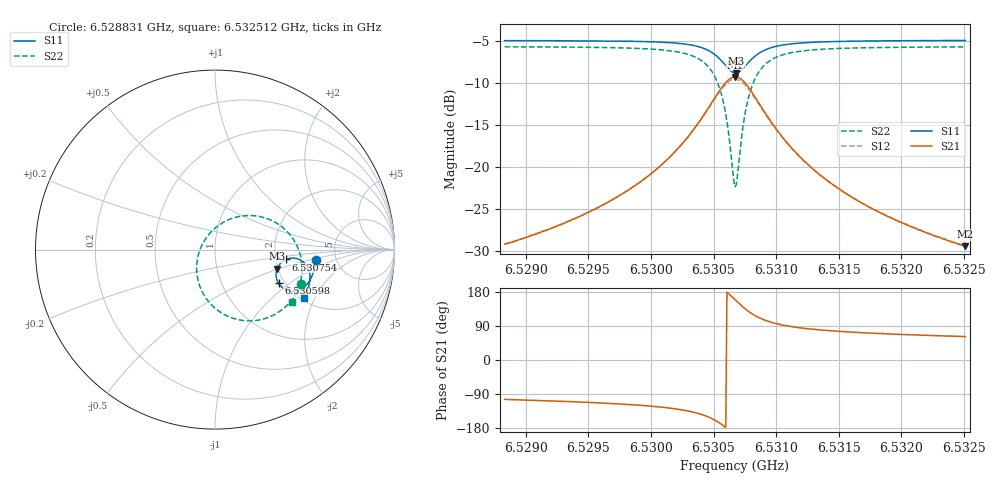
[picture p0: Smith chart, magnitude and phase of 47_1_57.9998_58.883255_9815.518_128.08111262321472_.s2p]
#  HZ  S  RI  R  50.00
! Rohde & Schwarz Vector Network Analyzer
! Rohde-Schwarz,ZNB20-2Port,1311601062101988,3.16
! Created: UTC 3/21/2024, 12:52:19 AM
! freq[Hz]  re:S11  im:S11  re:S21  im:S21  re:S12  im:S12  re:S22  im:S22
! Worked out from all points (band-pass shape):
!   401 points, 6.528831 GHz to 6.532512 GHz, reference 50 ohm
!   highest |S21| = -9.27 dB at 6.530672 GHz (marker M1); lowest = -29.4 dB at 6.532512 GHz (marker M2)
!   |S21| within 3 dB of the highest: 6.530489 GHz to 6.530857 GHz (368.2 kHz wide, 0.00564 % of centre)
!   lowest |S11| = -8.8 dB at 6.530681 GHz (marker M3), VSWR 2.14, Z = 98.9 - j24.3 ohm
!   |S11| at or under -10 dB: nowhere
!   |S22| runs from -22.3 to -5.7 dB; largest |S21 - S12| = 0.015
!   S11 on the Smith chart (normalised r, x): 6.528831 GHz: 3.47, -0.60; 6.530598 GHz: 1.86, -0.83; 6.530754 GHz: 2.28, -0.30; 6.532512 GHz: 2.07, -1.66
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6.528831e9  0.5608 -0.0592  -0.0084 -0.0338  -0.00919 -0.0337  0.4818 -0.1909
6.5294476e9  0.5512 -0.1127  -0.0186 -0.048  -0.0199 -0.0479  0.4489 -0.2528
6.5297881e9  0.5404 -0.1464  -0.0318 -0.0631  -0.0336 -0.0623  0.4146 -0.2971
6.5300642e9  0.5234 -0.1795  -0.0555 -0.0831  -0.0583 -0.0816  0.3607 -0.3443
6.5302851e9  0.4933 -0.2113  -0.1025 -0.1065  -0.106 -0.1027  0.2659 -0.3875
6.5304415e9  0.4439 -0.2308  -0.1821 -0.1133  -0.1846 -0.105  0.1206 -0.3885
6.5305336e9  0.3925 -0.2221  -0.2623 -0.0798  -0.2606 -0.0682  -0.012 -0.3155
6.5305704e9  0.3695 -0.2061  -0.2968 -0.0454  -0.2916 -0.0331  -0.0631 -0.2502
6.530598e9  0.3542 -0.1875  -0.3181 -0.0088  -0.31 0.00285  -0.0912 -0.1844
6.5306532e9  0.3404 -0.1352  -0.3304 0.0871  -0.3175 0.0937  -0.0916 -0.0239
6.5306716e9  0.3432 -0.1159  -0.3218 0.1208  -0.3083 0.1248  -0.0708 0.0293
6.5306808e9  0.346 -0.1067  -0.3147 0.1369  -0.3014 0.1399  -0.0564 0.0543
6.5306992e9  0.3547 -0.0894  -0.2969 0.1665  -0.2837 0.1671  -0.0213 0.0992
6.5307176e9  0.3666 -0.0747  -0.274 0.1913  -0.2621 0.1899  0.0208 0.1355
6.5307544e9  0.3953 -0.0548  -0.2209 0.2241  -0.2117 0.2202  0.1142 0.1798
6.5308189e9  0.4452 -0.048  -0.1331 0.2345  -0.1287 0.2304  0.2625 0.1811
6.5309109e9  0.4915 -0.0683  -0.0544 0.2034  -0.0527 0.201  0.3909 0.1113
6.5310489e9  0.5197 -0.106  -0.00618 0.1511  -0.00507 0.1502  0.4636 0.00545
6.5312882e9  0.5295 -0.1529  0.0149 0.0971  0.0161 0.0969  0.4851 -0.1064
6.5315275e9  0.5267 -0.185  0.0186 0.0697  0.0195 0.0696  0.4788 -0.169
6.5319048e9  0.5164 -0.2233  0.0184 0.0471  0.0191 0.0468  0.46 -0.2293
6.5325122e9  0.4954 -0.2723  0.0161 0.0299  0.0167 0.0296  0.4287 -0.29
